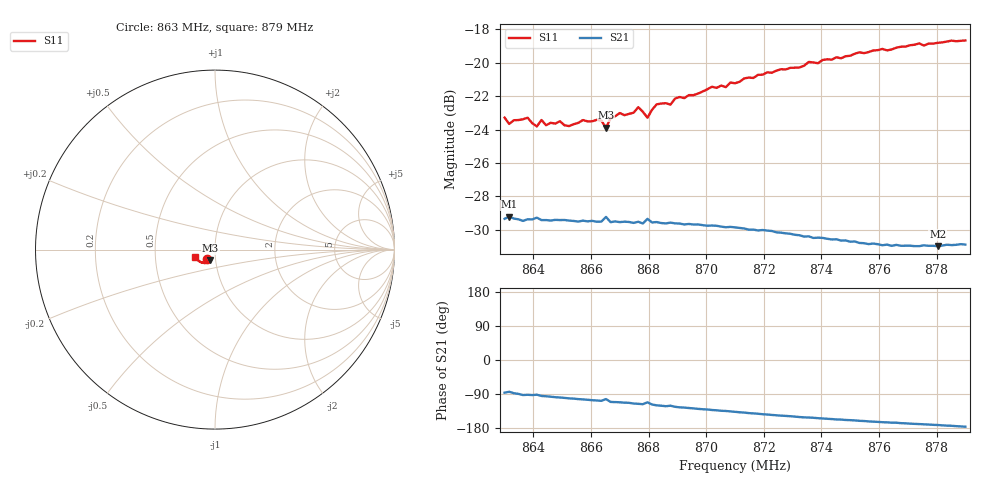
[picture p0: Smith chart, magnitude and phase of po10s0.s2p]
# HZ S RI R 50
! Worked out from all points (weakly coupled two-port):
!   101 points, 863 MHz to 879 MHz, reference 50 ohm
!   highest |S21| = -29.20 dB at 863.16 MHz (marker M1); lowest = -31.0 dB at 878.04 MHz (marker M2)
!   lowest |S11| = -23.9 dB at 866.52 MHz (marker M3), VSWR 1.14, Z = 47.2 - j5.55 ohm
!   |S11| at or under -10 dB: start of sweep to end of sweep
!   S12 and S22 are empty: the file has one direction only
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8.63e8  -0.0438 -0.0527  0.00225 -0.0341  0 0  0 0
8.6316e8  -0.0375 -0.0538  0.00373 -0.0345  0 0  0 0
8.638e8  -0.0429 -0.0534  -0.00102 -0.034  0 0  0 0
8.6412e8  -0.036 -0.0535  -0.000954 -0.0344  0 0  0 0
8.6428e8  -0.0394 -0.0547  -0.00288 -0.0337  0 0  0 0
8.6444e8  -0.0372 -0.0534  -0.00335 -0.0337  0 0  0 0
8.6492e8  -0.0375 -0.0554  -0.00528 -0.0334  0 0  0 0
8.6524e8  -0.0344 -0.0548  -0.0066 -0.0331  0 0  0 0
8.6572e8  -0.0362 -0.0569  -0.00814 -0.0327  0 0  0 0
8.6636e8  -0.0342 -0.0578  -0.0102 -0.0319  0 0  0 0
8.6652e8  -0.0257 -0.0585  -0.00787 -0.0337  0 0  0 0
8.6668e8  -0.0335 -0.0594  -0.0118 -0.0312  0 0  0 0
8.67e8  -0.0364 -0.0607  -0.0123 -0.031  0 0  0 0
8.6748e8  -0.034 -0.0622  -0.014 -0.0301  0 0  0 0
8.6764e8  -0.0371 -0.0637  -0.0145 -0.0302  0 0  0 0
8.6796e8  -0.0259 -0.0634  -0.0126 -0.0317  0 0  0 0
8.6844e8  -0.0372 -0.0657  -0.0169 -0.0285  0 0  0 0
8.71e8  -0.0472 -0.0729  -0.0234 -0.0221  0 0  0 0
8.7372e8  -0.0674 -0.0743  -0.0265 -0.0138  0 0  0 0
8.7644e8  -0.0906 -0.0617  -0.0274 -0.0071  0 0  0 0
8.7804e8  -0.1031 -0.0503  -0.028 -0.00415  0 0  0 0
8.79e8  -0.1098 -0.0394  -0.0285 -0.00198  0 0  0 0
